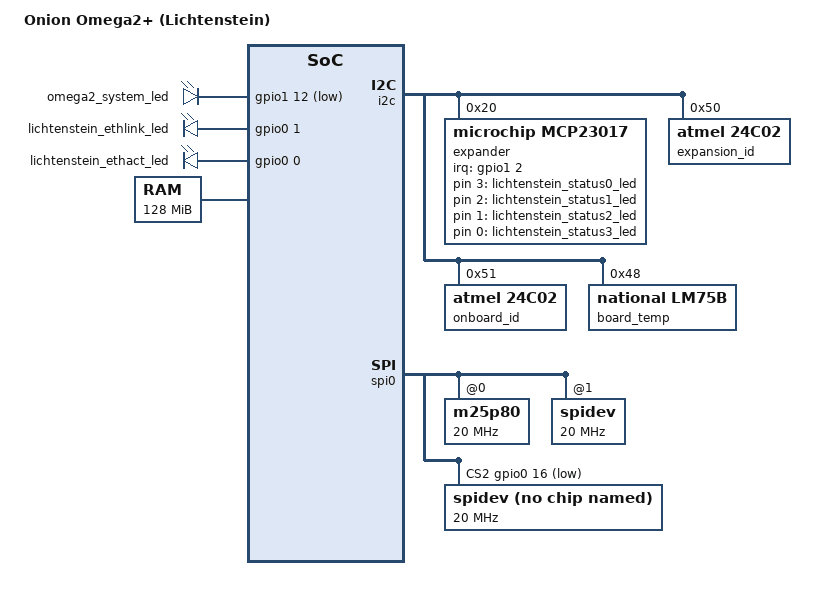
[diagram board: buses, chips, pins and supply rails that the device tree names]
/dts-v1/;

#include "OMEGA2.dtsi"

/ {
	model = "Onion Omega2+ (Lichtenstein)";

	/* add the ethernet link and activity LEDs */
	gpio-leds {
		compatible = "gpio-leds";

		/* omega on-board system LED */
		system_led: system {
			gpios = <&gpio1 12 GPIO_ACTIVE_LOW>;
		};

		/* Ethernet activity LEDs */
		eth_link_led: ethlink {
			/*gpios = <&gpio0 18 GPIO_ACTIVE_HIGH>;*/
			gpios = <&gpio0 1 GPIO_ACTIVE_HIGH>;
		};

		eth_act_led: ethact {
			/*gpios = <&gpio0 19 GPIO_ACTIVE_HIGH>;*/
			gpios = <&gpio0 0 GPIO_ACTIVE_HIGH>;
		};

		/* status LEDs */
		status_0_led: status0 {
			gpios = <&expander 3 GPIO_ACTIVE_HIGH>;
		};
		status_1_led: status1 {
			gpios = <&expander 2 GPIO_ACTIVE_HIGH>;
		};
		status_2_led: status2 {
			gpios = <&expander 1 GPIO_ACTIVE_HIGH>;
		};
		status_3_led: status3 {
			gpios = <&expander 0 GPIO_ACTIVE_HIGH>;
		};
	};

	/* specify the 128M of memory on the Omega2+ */
	memory@0 {
		device_type = "memory";
		reg = <0x0 0x8000000>;
	};
};

/* define address of firmware in flash */
&firmware {
	reg = <0x50000 0x1fb0000>;
};

/* I2C bus expander (MCP23017) */
&i2c {
	expander: mcp23017@20 {
		/* force the kernel to match to a driver */
		status = "okay";

		/* MCP23017 driver */
		compatible = "microchip,mcp23017";
		#gpio-cells = <2>;

		gpio-controller;

		/* I2C address (all address pins low) */
		reg = <0x20>;

		/* IRQ configuration (this doesn't work…) */
		#interrupt-cells = <2>;
		interrupt-parent = <&gpio1>;
		interrupts = <2 2>;
		interrupt-controller;
		microchip,irq-mirror;
	};

	/* expansion board EEPROM, default address 0x50 */
	expansion_id: eeprom@50 {
		/* force the kernel to match to a driver */
		status = "okay";

		/* we use 24C02 EEPROMs */
		compatible = "atmel,24c02";
		reg = <0x50>;
		pagesize = <8>;

		/* force read-only */
		/*read-only;*/
	};

	/* on-board output EEPROM, default address 0x51 */
	onboard_id: eeprom@51 {
		/* force the kernel to match to a driver */
		status = "okay";

		/* we use 24C02 EEPROMs */
		compatible = "atmel,24c02";
		reg = <0x51>;
		pagesize = <8>;

		/* force read-only */
		/*read-only;*/
	};

	/* optional temperature sensor */
	board_temp: lm75@48 {
		/* force the kernel to match to a driver */
		status = "okay";

		/* the board has an LM75BD at addrexx 0x48 */
		compatible = "national,lm75b";
		reg = <0x48>;
	};
};



/* assign labels to the system and Ethernet LEDs */
&system_led {
	label = "omega2_system_led";
};

&eth_link_led {
	label = "lichtenstein_ethlink_led";
};

&eth_act_led {
	label = "lichtenstein_ethact_led";
};


/* assign labels to the status LEDs */
&status_0_led {
	label = "lichtenstein_status0_led";
};
&status_1_led {
	label = "lichtenstein_status1_led";
};
&status_2_led {
	label = "lichtenstein_status2_led";
};
&status_3_led {
	label = "lichtenstein_status3_led";
};


/* reduce SPI speed to 20MHz, and declare extra chip select */
&spi0 {
	/* first two native chip selects, third GPIO chip select */
	cs-gpios = <0>, <0>, <&gpio0 16 GPIO_ACTIVE_LOW>;
	num-cs = <3>;

	/* internal flash */
	m25p80@0 {
		spi-max-frequency = <20000000>;
	};

	/* expansion header */
	spidev@1 {
		spi-max-frequency = <20000000>;
	};

	/* internal SPI device */
	spidev@2 {
		#address-cells = <1>;
		#size-cells = <1>;
		compatible = "linux,spidev";
		reg = <2>;

		spi-max-frequency = <20000000>;
	};
};

/* Declare state of pins on boot */
&pinctrl {
	state_default: pinctrl0 {
		/* PWMs are used with the PWM peripheral */
		pwm0 {
			ralink,group = "pwm0";
			ralink,function = "pwm0";
		};
		pwm1 {
			ralink,group = "pwm1";
			ralink,function = "pwm1";
		};

		/* I2S pins are used as gpio */
		i2s {
			ralink,group = "i2s";
			ralink,function = "gpio";
		};

		/* UART1 and 2 pins are used as GPIOs */
		uart1 {
			ralink,group = "uart1";
			ralink,function = "gpio";
		};
		uart2 {
			ralink,group = "uart2";
			ralink,function = "gpio";
		};
	};
};
